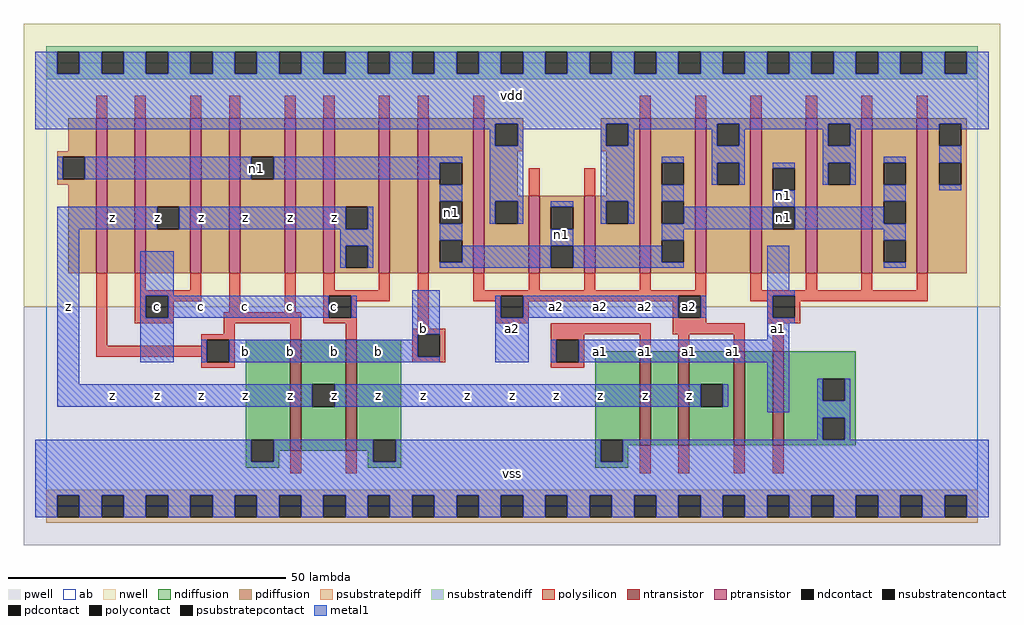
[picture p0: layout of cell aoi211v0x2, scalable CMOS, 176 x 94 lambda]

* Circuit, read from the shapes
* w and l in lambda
.subckt aoi211v0x2 a1 a2 b c n1 vdd vss z
M1 z b vss vss nfet w=20 l=2
M2 vss c z vss nfet w=20 l=2
M3 n2 a1 vss vss nfet w=17 l=2
M4 z a2 n2 vss nfet w=17 l=2
M5 n3 a2 z vss nfet w=17 l=2
M6 vss a1 n3 vss nfet w=17 l=2
M7 n4 b n1 vdd pfet w=28 l=2
M8 z c n4 vdd pfet w=28 l=2
M9 n5 c z vdd pfet w=28 l=2
M10 n1 b n5 vdd pfet w=28 l=2
M11 n6 b n1 vdd pfet w=28 l=2
M12 z c n6 vdd pfet w=28 l=2
M13 n7 c z vdd pfet w=28 l=2
M14 n1 b n7 vdd pfet w=28 l=2
M15 vdd a2 n1 vdd pfet w=28 l=2 m=3
M16 n1 a2 vdd vdd pfet w=14 l=2 m=2
M17 n1 a1 vdd vdd pfet w=28 l=2 m=4
.ends

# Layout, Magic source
magic
tech scmos
<< ab >>
rect 0 0 168 80
<< pwell >>
rect -4 -7 172 36
<< nwell >>
rect -4 36 172 87
<< polysilicon >>
rect 9 70 11 74
rect 16 70 18 74
rect 26 70 28 74
rect 33 70 35 74
rect 43 70 45 74
rect 50 70 52 74
rect 60 70 62 74
rect 67 70 69 74
rect 77 70 79 74
rect 107 70 109 74
rect 117 70 119 74
rect 127 70 129 74
rect 137 70 139 74
rect 147 70 149 74
rect 157 70 159 74
rect 87 56 89 61
rect 97 56 99 61
rect 9 29 11 42
rect 16 39 18 42
rect 26 39 28 42
rect 16 38 28 39
rect 16 34 18 38
rect 22 37 28 38
rect 22 34 23 37
rect 33 35 35 42
rect 43 35 45 42
rect 50 39 52 42
rect 60 39 62 42
rect 50 38 62 39
rect 16 33 23 34
rect 32 33 46 35
rect 50 34 51 38
rect 55 37 62 38
rect 55 34 56 37
rect 50 33 56 34
rect 32 31 34 33
rect 28 30 34 31
rect 44 30 46 33
rect 54 30 56 33
rect 67 32 69 42
rect 77 39 79 42
rect 87 39 89 42
rect 97 39 99 42
rect 107 39 109 42
rect 117 39 119 42
rect 77 38 119 39
rect 77 37 82 38
rect 81 34 82 37
rect 86 37 114 38
rect 86 34 87 37
rect 81 33 87 34
rect 113 34 114 37
rect 118 34 119 38
rect 127 39 129 42
rect 137 39 139 42
rect 147 39 149 42
rect 157 39 159 42
rect 127 38 159 39
rect 127 37 131 38
rect 113 33 119 34
rect 130 34 131 37
rect 135 37 159 38
rect 135 34 136 37
rect 130 33 136 34
rect 66 31 72 32
rect 28 29 29 30
rect 9 27 29 29
rect 28 26 29 27
rect 33 26 34 30
rect 28 25 34 26
rect 66 27 67 31
rect 71 27 72 31
rect 66 26 72 27
rect 91 31 109 33
rect 113 31 126 33
rect 91 30 97 31
rect 91 26 92 30
rect 96 26 97 30
rect 107 28 109 31
rect 114 28 116 31
rect 124 28 126 31
rect 131 28 133 33
rect 91 25 97 26
rect 44 6 46 10
rect 54 6 56 10
rect 107 6 109 11
rect 114 6 116 11
rect 124 6 126 11
rect 131 6 133 11
<< ndiffusion >>
rect 36 12 44 30
rect 36 8 37 12
rect 41 10 44 12
rect 46 22 54 30
rect 46 18 48 22
rect 52 18 54 22
rect 46 10 54 18
rect 56 12 64 30
rect 56 10 59 12
rect 41 8 42 10
rect 36 7 42 8
rect 58 8 59 10
rect 63 8 64 12
rect 58 7 64 8
rect 99 12 107 28
rect 99 8 100 12
rect 104 11 107 12
rect 109 11 114 28
rect 116 22 124 28
rect 116 18 118 22
rect 122 18 124 22
rect 116 11 124 18
rect 126 11 131 28
rect 133 23 146 28
rect 133 19 140 23
rect 144 19 146 23
rect 133 16 146 19
rect 133 12 140 16
rect 144 12 146 16
rect 133 11 146 12
rect 104 8 105 11
rect 99 7 105 8
<< pdiffusion >>
rect 4 64 9 70
rect 2 63 9 64
rect 2 59 3 63
rect 7 59 9 63
rect 2 58 9 59
rect 4 42 9 58
rect 11 42 16 70
rect 18 54 26 70
rect 18 50 20 54
rect 24 50 26 54
rect 18 42 26 50
rect 28 42 33 70
rect 35 63 43 70
rect 35 59 37 63
rect 41 59 43 63
rect 35 42 43 59
rect 45 42 50 70
rect 52 54 60 70
rect 52 50 54 54
rect 58 50 60 54
rect 52 47 60 50
rect 52 43 54 47
rect 58 43 60 47
rect 52 42 60 43
rect 62 42 67 70
rect 69 62 77 70
rect 69 58 71 62
rect 75 58 77 62
rect 69 55 77 58
rect 69 51 71 55
rect 75 51 77 55
rect 69 48 77 51
rect 69 44 71 48
rect 75 44 77 48
rect 69 42 77 44
rect 79 69 86 70
rect 79 65 81 69
rect 85 65 86 69
rect 79 64 86 65
rect 100 69 107 70
rect 100 65 101 69
rect 105 65 107 69
rect 100 64 107 65
rect 79 56 85 64
rect 101 56 107 64
rect 79 55 87 56
rect 79 51 81 55
rect 85 51 87 55
rect 79 42 87 51
rect 89 54 97 56
rect 89 50 91 54
rect 95 50 97 54
rect 89 47 97 50
rect 89 43 91 47
rect 95 43 97 47
rect 89 42 97 43
rect 99 55 107 56
rect 99 51 101 55
rect 105 51 107 55
rect 99 42 107 51
rect 109 62 117 70
rect 109 58 111 62
rect 115 58 117 62
rect 109 55 117 58
rect 109 51 111 55
rect 115 51 117 55
rect 109 48 117 51
rect 109 44 111 48
rect 115 44 117 48
rect 109 42 117 44
rect 119 69 127 70
rect 119 65 121 69
rect 125 65 127 69
rect 119 62 127 65
rect 119 58 121 62
rect 125 58 127 62
rect 119 42 127 58
rect 129 61 137 70
rect 129 57 131 61
rect 135 57 137 61
rect 129 54 137 57
rect 129 50 131 54
rect 135 50 137 54
rect 129 42 137 50
rect 139 69 147 70
rect 139 65 141 69
rect 145 65 147 69
rect 139 62 147 65
rect 139 58 141 62
rect 145 58 147 62
rect 139 42 147 58
rect 149 62 157 70
rect 149 58 151 62
rect 155 58 157 62
rect 149 55 157 58
rect 149 51 151 55
rect 155 51 157 55
rect 149 48 157 51
rect 149 44 151 48
rect 155 44 157 48
rect 149 42 157 44
rect 159 69 166 70
rect 159 65 161 69
rect 165 65 166 69
rect 159 62 166 65
rect 159 58 161 62
rect 165 58 166 62
rect 159 42 166 58
<< metal1 >>
rect -2 78 2 82
rect 6 78 10 82
rect 14 78 18 82
rect 22 78 26 82
rect 30 78 34 82
rect 38 78 42 82
rect 46 78 50 82
rect 54 78 58 82
rect 62 78 66 82
rect 70 78 74 82
rect 78 78 82 82
rect 86 78 90 82
rect 94 78 98 82
rect 102 78 106 82
rect 110 78 114 82
rect 118 78 122 82
rect 126 78 130 82
rect 134 78 138 82
rect 142 78 146 82
rect 150 78 154 82
rect 158 78 162 82
rect 166 78 170 82
rect -2 69 170 78
rect -2 68 81 69
rect 80 65 81 68
rect 85 68 101 69
rect 85 65 86 68
rect 2 59 3 63
rect 7 59 37 63
rect 41 62 75 63
rect 41 59 71 62
rect 71 55 75 58
rect 2 50 20 54
rect 24 50 54 54
rect 58 50 59 54
rect 2 22 6 50
rect 53 47 59 50
rect 17 38 23 46
rect 53 43 54 47
rect 58 43 59 47
rect 80 55 86 65
rect 100 65 101 68
rect 105 68 121 69
rect 105 65 106 68
rect 100 55 106 65
rect 120 65 121 68
rect 125 68 141 69
rect 125 65 126 68
rect 80 51 81 55
rect 85 51 86 55
rect 91 54 95 55
rect 71 48 75 51
rect 100 51 101 55
rect 105 51 106 55
rect 111 62 115 63
rect 120 62 126 65
rect 140 65 141 68
rect 145 68 161 69
rect 145 65 146 68
rect 140 62 146 65
rect 165 68 170 69
rect 120 58 121 62
rect 125 58 126 62
rect 131 61 135 62
rect 111 55 115 58
rect 140 58 141 62
rect 145 58 146 62
rect 151 62 155 63
rect 131 54 135 57
rect 151 55 155 58
rect 161 62 165 65
rect 161 57 165 58
rect 115 51 131 54
rect 91 47 95 50
rect 111 50 131 51
rect 135 51 151 54
rect 135 50 155 51
rect 111 48 115 50
rect 75 44 91 47
rect 71 43 91 44
rect 95 44 111 47
rect 151 48 155 50
rect 95 43 115 44
rect 130 39 134 47
rect 151 43 155 44
rect 17 34 18 38
rect 22 34 51 38
rect 55 34 56 38
rect 17 26 23 34
rect 66 31 71 39
rect 130 38 135 39
rect 66 30 67 31
rect 28 26 29 30
rect 33 27 67 30
rect 33 26 71 27
rect 81 34 82 38
rect 86 34 114 38
rect 118 34 119 38
rect 130 34 131 38
rect 81 26 87 34
rect 130 33 135 34
rect 130 30 134 33
rect 91 26 92 30
rect 96 26 134 30
rect 2 18 48 22
rect 52 18 118 22
rect 122 18 123 22
rect 130 17 134 26
rect 139 19 140 23
rect 144 19 145 23
rect 139 16 145 19
rect 139 12 140 16
rect 144 12 145 16
rect -2 8 37 12
rect 41 8 59 12
rect 63 8 100 12
rect 104 8 170 12
rect -2 2 170 8
rect -2 -2 2 2
rect 6 -2 10 2
rect 14 -2 18 2
rect 22 -2 26 2
rect 30 -2 34 2
rect 38 -2 42 2
rect 46 -2 50 2
rect 54 -2 58 2
rect 62 -2 66 2
rect 70 -2 74 2
rect 78 -2 82 2
rect 86 -2 90 2
rect 94 -2 98 2
rect 102 -2 106 2
rect 110 -2 114 2
rect 118 -2 122 2
rect 126 -2 130 2
rect 134 -2 138 2
rect 142 -2 146 2
rect 150 -2 154 2
rect 158 -2 162 2
rect 166 -2 170 2
<< ntransistor >>
rect 44 10 46 30
rect 54 10 56 30
rect 107 11 109 28
rect 114 11 116 28
rect 124 11 126 28
rect 131 11 133 28
<< ptransistor >>
rect 9 42 11 70
rect 16 42 18 70
rect 26 42 28 70
rect 33 42 35 70
rect 43 42 45 70
rect 50 42 52 70
rect 60 42 62 70
rect 67 42 69 70
rect 77 42 79 70
rect 87 42 89 56
rect 97 42 99 56
rect 107 42 109 70
rect 117 42 119 70
rect 127 42 129 70
rect 137 42 139 70
rect 147 42 149 70
rect 157 42 159 70
<< polycontact >>
rect 18 34 22 38
rect 51 34 55 38
rect 82 34 86 38
rect 114 34 118 38
rect 131 34 135 38
rect 29 26 33 30
rect 67 27 71 31
rect 92 26 96 30
<< ndcontact >>
rect 37 8 41 12
rect 48 18 52 22
rect 59 8 63 12
rect 100 8 104 12
rect 118 18 122 22
rect 140 19 144 23
rect 140 12 144 16
<< pdcontact >>
rect 3 59 7 63
rect 20 50 24 54
rect 37 59 41 63
rect 54 50 58 54
rect 54 43 58 47
rect 71 58 75 62
rect 71 51 75 55
rect 71 44 75 48
rect 81 65 85 69
rect 101 65 105 69
rect 81 51 85 55
rect 91 50 95 54
rect 91 43 95 47
rect 101 51 105 55
rect 111 58 115 62
rect 111 51 115 55
rect 111 44 115 48
rect 121 65 125 69
rect 121 58 125 62
rect 131 57 135 61
rect 131 50 135 54
rect 141 65 145 69
rect 141 58 145 62
rect 151 58 155 62
rect 151 51 155 55
rect 151 44 155 48
rect 161 65 165 69
rect 161 58 165 62
<< psubstratepcontact >>
rect 2 -2 6 2
rect 10 -2 14 2
rect 18 -2 22 2
rect 26 -2 30 2
rect 34 -2 38 2
rect 42 -2 46 2
rect 50 -2 54 2
rect 58 -2 62 2
rect 66 -2 70 2
rect 74 -2 78 2
rect 82 -2 86 2
rect 90 -2 94 2
rect 98 -2 102 2
rect 106 -2 110 2
rect 114 -2 118 2
rect 122 -2 126 2
rect 130 -2 134 2
rect 138 -2 142 2
rect 146 -2 150 2
rect 154 -2 158 2
rect 162 -2 166 2
<< nsubstratencontact >>
rect 2 78 6 82
rect 10 78 14 82
rect 18 78 22 82
rect 26 78 30 82
rect 34 78 38 82
rect 42 78 46 82
rect 50 78 54 82
rect 58 78 62 82
rect 66 78 70 82
rect 74 78 78 82
rect 82 78 86 82
rect 90 78 94 82
rect 98 78 102 82
rect 106 78 110 82
rect 114 78 118 82
rect 122 78 126 82
rect 130 78 134 82
rect 138 78 142 82
rect 146 78 150 82
rect 154 78 158 82
rect 162 78 166 82
<< psubstratepdiff >>
rect 0 2 168 3
rect 0 -2 2 2
rect 6 -2 10 2
rect 14 -2 18 2
rect 22 -2 26 2
rect 30 -2 34 2
rect 38 -2 42 2
rect 46 -2 50 2
rect 54 -2 58 2
rect 62 -2 66 2
rect 70 -2 74 2
rect 78 -2 82 2
rect 86 -2 90 2
rect 94 -2 98 2
rect 102 -2 106 2
rect 110 -2 114 2
rect 118 -2 122 2
rect 126 -2 130 2
rect 134 -2 138 2
rect 142 -2 146 2
rect 150 -2 154 2
rect 158 -2 162 2
rect 166 -2 168 2
rect 0 -3 168 -2
<< nsubstratendiff >>
rect 0 82 168 83
rect 0 78 2 82
rect 6 78 10 82
rect 14 78 18 82
rect 22 78 26 82
rect 30 78 34 82
rect 38 78 42 82
rect 46 78 50 82
rect 54 78 58 82
rect 62 78 66 82
rect 70 78 74 82
rect 78 78 82 82
rect 86 78 90 82
rect 94 78 98 82
rect 102 78 106 82
rect 110 78 114 82
rect 118 78 122 82
rect 126 78 130 82
rect 134 78 138 82
rect 142 78 146 82
rect 150 78 154 82
rect 158 78 162 82
rect 166 78 168 82
rect 0 77 168 78
<< labels >>
rlabel metal1 20 20 20 20 6 z
rlabel metal1 12 20 12 20 6 z
rlabel polycontact 20 36 20 36 6 c
rlabel metal1 4 36 4 36 6 z
rlabel metal1 12 52 12 52 6 z
rlabel metal1 20 52 20 52 6 z
rlabel metal1 28 20 28 20 6 z
rlabel metal1 52 20 52 20 6 z
rlabel metal1 44 20 44 20 6 z
rlabel metal1 36 20 36 20 6 z
rlabel metal1 36 28 36 28 6 b
rlabel metal1 44 28 44 28 6 b
rlabel metal1 52 28 52 28 6 b
rlabel metal1 28 36 28 36 6 c
rlabel polycontact 52 36 52 36 6 c
rlabel metal1 44 36 44 36 6 c
rlabel metal1 36 36 36 36 6 c
rlabel metal1 28 52 28 52 6 z
rlabel metal1 36 52 36 52 6 z
rlabel metal1 44 52 44 52 6 z
rlabel metal1 52 52 52 52 6 z
rlabel metal1 76 20 76 20 6 z
rlabel metal1 68 20 68 20 6 z
rlabel metal1 60 20 60 20 6 z
rlabel metal1 60 28 60 28 6 b
rlabel metal1 68 32 68 32 6 b
rlabel pdcontact 73 53 73 53 6 n1
rlabel pdcontact 38 61 38 61 6 n1
rlabel metal1 84 6 84 6 6 vss
rlabel metal1 84 20 84 20 6 z
rlabel metal1 108 20 108 20 6 z
rlabel metal1 100 20 100 20 6 z
rlabel metal1 92 20 92 20 6 z
rlabel metal1 100 28 100 28 6 a1
rlabel metal1 108 28 108 28 6 a1
rlabel metal1 84 32 84 32 6 a2
rlabel metal1 108 36 108 36 6 a2
rlabel metal1 100 36 100 36 6 a2
rlabel metal1 92 36 92 36 6 a2
rlabel metal1 93 49 93 49 6 n1
rlabel metal1 84 74 84 74 6 vdd
rlabel metal1 116 20 116 20 6 z
rlabel metal1 124 28 124 28 6 a1
rlabel metal1 116 28 116 28 6 a1
rlabel polycontact 116 36 116 36 6 a2
rlabel metal1 132 32 132 32 6 a1
rlabel metal1 133 56 133 56 6 n1
rlabel pdcontact 133 52 133 52 6 n1
<< end >>
